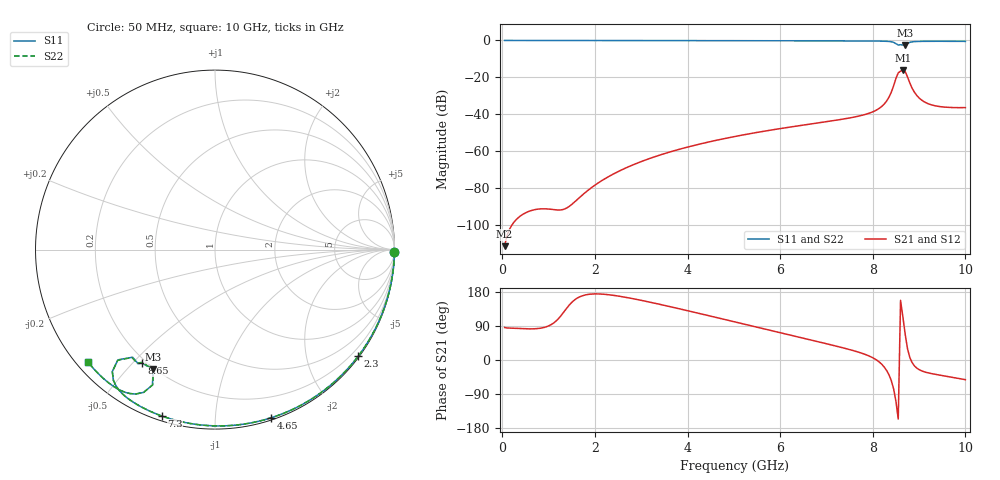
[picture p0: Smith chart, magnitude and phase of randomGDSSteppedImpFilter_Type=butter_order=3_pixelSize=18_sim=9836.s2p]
! freq	dB(S11)	phase(S11)	dB(S12)	phase(S12)
!  dB(S21)	phase(S21)	dB(S22)	phase(S22)
!S-par simulation data
#  GHz  S  DB  R 50
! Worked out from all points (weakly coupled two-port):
!   200 points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, 50 MHz to 10 GHz, reference 50 ohm
!   highest |S21| = -16.14 dB at 8.65 GHz (marker M1); lowest = -111.3 dB at 50 MHz (marker M2)
!   lowest |S11| = -2.5 dB at 8.7 GHz (marker M3), VSWR 7.05, Z = 9.66 - j29.6 ohm
!   |S11| at or under -10 dB: nowhere
!   |S22| runs from -2.5 to 0.0 dB; largest |S21 - S12| = 0
!   S11 on the Smith chart (normalised r, x): 50 MHz: open; 2.3 GHz: 0.03, -3.02; 4.65 GHz: 0.02, -1.39; 7.3 GHz: 0.02, -0.73; 8.65 GHz: 0.18, -0.53; 10 GHz: 0.03, -0.38
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0.05  -0.00 -0.8  -111.26 85.8  -111.26 85.8  -0.00 -0.8
1.75  -0.04 -28.1  -83.14 170.3  -83.14 170.3  -0.04 -28.1
1.9  -0.04 -30.4  -80.10 173.8  -80.10 173.8  -0.04 -30.4
2.3  -0.05 -36.6  -73.57 172.2  -73.57 172.2  -0.05 -36.6
3.4  -0.07 -53.4  -62.00 146.9  -62.00 146.9  -0.07 -53.4
4.65  -0.11 -71.6  -53.84 111.4  -53.84 111.4  -0.11 -71.6
5.05  -0.12 -77.2  -51.81 99.7  -51.81 99.7  -0.12 -77.2
6.7  -0.19 -99.7  -45.04 51.7  -45.04 51.7  -0.19 -99.7
7.3  -0.23 -107.8  -42.78 33.9  -42.78 33.9  -0.23 -107.8
8.05  -0.32 -118.9  -38.02 2.4  -38.02 2.4  -0.32 -118.9
8.2  -0.38 -121.8  -35.55 -12.0  -35.55 -12.0  -0.38 -121.8
8.35  -0.54 -125.9  -30.69 -39.2  -30.69 -39.2  -0.54 -125.9
8.45  -1.03 -130.1  -24.53 -76.1  -24.53 -76.1  -1.02 -130.0
8.55  -2.44 -127.4  -17.55 -155.7  -17.55 -155.7  -2.40 -127.6
8.6  -2.31 -124.0  -16.59 157.3  -16.59 157.3  -2.30 -124.3
8.65  -2.47 -122.8  -16.14 114.1  -16.14 114.1  -2.49 -123.1
8.7  -2.48 -117.3  -16.84 67.9  -16.84 67.9  -2.52 -117.4
8.8  -1.02 -116.6  -23.05 6.6  -23.05 6.6  -1.03 -116.5
8.9  -0.62 -120.5  -28.03 -15.6  -28.03 -15.6  -0.62 -120.5
9.1  -0.47 -125.4  -33.01 -30.7  -33.01 -30.7  -0.47 -125.4
9.4  -0.45 -130.4  -35.59 -38.9  -35.59 -38.9  -0.45 -130.4
10  -0.49 -138.7  -36.32 -52.0  -36.32 -52.0  -0.49 -138.7
